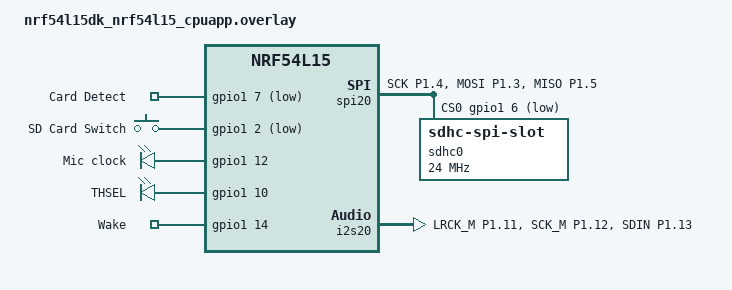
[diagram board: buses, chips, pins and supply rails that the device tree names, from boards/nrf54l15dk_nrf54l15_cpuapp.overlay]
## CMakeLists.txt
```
# SPDX-License-Identifier: Apache-2.0

cmake_minimum_required(VERSION 3.20.0)
find_package(Zephyr REQUIRED HINTS $ENV{ZEPHYR_BASE})
project(sd_card_access_nrf54)

# defining some environmental variables
if(CMAKE_HOST_SYSTEM MATCHES "Linux")
    message("===========  Linux  ==========")
elseif(CMAKE_HOST_SYSTEM MATCHES "Darwin")
    message("===========  APPLE  ==========")
elseif(CMAKE_HOST_SYSTEM MATCHES "Windows")
    message("=========== Windows ==========")
endif()

# Source code
target_sources(app PRIVATE src/main.c)
target_sources(app PRIVATE src/hal/gpio_hal.c)
target_sources(app PRIVATE src/hal/btn_hal.c)
target_sources(app PRIVATE src/mic/t5848.c)

target_sources_ifdef(CONFIG_FILE_SYSTEM app PRIVATE src/fatfs/sdcard.c)
```

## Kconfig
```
#
# Copyright (c) 2023 Nordic Semiconductor ASA
# Copyright (c) 2023 Antmicro <www.antmicro.com>
#
# SPDX-License-Identifier: Apache-2.0
#

mainmenu "MobileSense SD Card Access"

# General configuration
config DELAY_ON_HARDWARE_POWERED_ON
    int "Delay to be sure that all threads have detected the power on hardware, in [ms]"
    default 2000

config HOT_RESET_VAL
    int "Hot Reset delault value 0xa5"
    default 165

# SD Card storage related
# config STORAGE_SAMPLE_BIT_WIDTH
#     int "Sample BIT width for storage"
# 	default 24

# config STORAGE_BYTES_PER_SAMPLE
#     int "Bytes used per Sample for storage"
# 	default 3

config STORAGE_CD_DEBOUNCE_MS
    int "Deboucer delay in [ms]"
    default 30

# config STORAGE_TIME_DIFF_THRESHOLD
#     int "Difference in second to open a new file"
#     default 3600

config STORAGE_MOUNT_POINT
    string "Name of the Fatfs mount point"
    default "/SD:"

config STORAGE_DISK_POINTER_NAME
    string "Fatfs disk pointer name"
    default "SD"

config STORAGE_FILE_NAME
    string "Name of the file where the audio samples are stored"
    default "rec"

config STORAGE_FILE_EXTENSION
    string "Extension of the file name"
    default "dat"

config STORAGE_LIST_FILES_ON_CARD
    bool "Will list all files and folders on SD Card when mounted"
    default n

config STORAGE_USE_SDHC_NODE_FEATURE
    bool "Try to use fatfs functionality for SD Card detection"
    default n



# DEBUG level settings
config BTN_HAL_LOG_LEVEL
    int "Default LOG level for Button hal"
    default 1

config GPIO_HAL_LOG_LEVEL
    int "Default LOG level for GPIO hal"
    default 1

config MAIN_LOG_LEVEL
    int "Default LOG level for main entry point"
    default 1

config SD_CARD_LOG_LEVEL
    int "Default LOG level for SD Card and FATfs"
    default 1

config T5848_LOG_LEVEL
    int "Default LOG level for T5848 microphone"
    default 1

source "Kconfig.zephyr"
```

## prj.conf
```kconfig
# Stack and Heap size
CONFIG_MAIN_STACK_SIZE=4096

#sdcard - SDMMC
# CONFIG_DISK_DRIVER_SDMMC=y
CONFIG_DISK_ACCESS=y
CONFIG_FILE_SYSTEM=y
CONFIG_FAT_FILESYSTEM_ELM=y
CONFIG_SDHC=y

# Lib c
CONFIG_NEWLIB_LIBC=y
CONFIG_POSIX_API=y
CONFIG_POSIX_CLOCK=y

CONFIG_CBPRINTF_FP_SUPPORT=y

# GPIO's related
CONFIG_GPIO=y

# Power mamangement
CONFIG_PM_DEVICE=y

# I2S related
CONFIG_I2S=y

# ********************************************** #
# DEBUG settings - Change config below to y to activate DEBUG
# ********************************************** #
CONFIG_LOG=y
CONFIG_PRINTK=y
CONFIG_DEBUG=y
CONFIG_DEBUG_THREAD_INFO=n
# CONFIG_DEBUG_INFO=y
# CONFIG_DEBUG_COREDUMP=n
# CONFIG_DEBUG_COREDUMP_MEMORY_DUMP_MIN=y
# CONFIG_DEBUG_COREDUMP_MEMORY_DUMP_LINKER_RAM=n
```

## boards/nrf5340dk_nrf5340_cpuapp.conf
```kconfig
#
# Copyright (c) 2024 Nordic Semiconductor ASA
#
# SPDX-License-Identifier: Apache-2.0
#

CONFIG_DISK_DRIVER_SDMMC=y
CONFIG_SPI=y
CONFIG_USE_SEGGER_RTT=y
CONFIG_SERIAL=n
CONFIG_CONSOLE=n
CONFIG_UART_CONSOLE=n
```

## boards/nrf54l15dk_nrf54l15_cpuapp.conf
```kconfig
#
# Copyright (c) 2024 Nordic Semiconductor ASA
#
# SPDX-License-Identifier: Apache-2.0
#

CONFIG_DISK_DRIVER_SDMMC=y

# Logger
CONFIG_USE_SEGGER_RTT=y
CONFIG_SERIAL=n
CONFIG_CONSOLE=n
CONFIG_UART_CONSOLE=n

# ********************************************** #
# Zephyr/nrf log configuration                   #
# 0 -> off, 1 -> err, 2 ->wrn, 3 -> inf, 4 ->dbg #
# ********************************************** #
# DEBUG LOG LEVEL
CONFIG_BTN_HAL_LOG_LEVEL=4
CONFIG_GPIO_HAL_LOG_LEVEL=4
CONFIG_MAIN_LOG_LEVEL=4
CONFIG_SD_CARD_LOG_LEVEL=3
CONFIG_T5848_LOG_LEVEL=3

# Enable/Disable LOG trace
CONFIG_LOG=y
CONFIG_CONSOLE=y
CONFIG_PRINTK=y

CONFIG_LOG_BACKEND_SHOW_COLOR=y
CONFIG_LOG_INFO_COLOR_GREEN=y
CONFIG_LOG_MODE_DEFERRED=y
# CONFIG_LOG_MODE_OVERFLOW=y
CONFIG_LOG_BUFFER_SIZE=4096

# RTT logging
# To enable RTT Logging, set CONFIG_RTT_CONSOLE to y and to n to disable it
CONFIG_RTT_CONSOLE=y
CONFIG_USE_SEGGER_RTT=y
CONFIG_LOG_BACKEND_RTT=y
CONFIG_SEGGER_RTT_BUFFER_SIZE_DOWN=64
CONFIG_SEGGER_RTT_MAX_NUM_DOWN_BUFFERS=2
CONFIG_SEGGER_RTT_BUFFER_SIZE_UP=4096
CONFIG_SEGGER_RTT_MAX_NUM_UP_BUFFERS=2

# UART Logging definitions
# To enable UART Logging, set both CONFIG_SERIAL & CONFIG_UART_CONSOLE to y
CONFIG_UART_CONSOLE=n
CONFIG_LOG_BACKEND_UART=n
```

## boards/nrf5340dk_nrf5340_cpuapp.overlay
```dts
// To get started, press Ctrl+Space (or Option+Esc) to bring up the completion menu and view the available nodes.

// You can also use the buttons in the sidebar to perform actions on nodes.
// Actions currently available include:

// * Enabling / disabling the node
// * Adding the bus to a bus
// * Removing the node
// * Connecting ADC channels

// For more help, browse the DeviceTree documentation at https://docs.zephyrproject.org/latest/guides/dts/index.html
// You can also visit the nRF DeviceTree extension documentation at https://nrfconnect.github.io/vscode-nrf-connect/devicetree/nrfdevicetree.html

// ---------- Define GPIOs & Hardware used ----------
&pinctrl {
	// ----- pinctrl for PCA10095 board (nRF5340 DK) -----
    spi4_default: spi4_default {
        group1 {
            psels = <NRF_PSEL(SPIM_SCK,  1, 14)>,
                    <NRF_PSEL(SPIM_MISO, 1, 15)>,
                    <NRF_PSEL(SPIM_MOSI, 1, 13)>;
        };
    };

	spi4_sleep: spi4_sleep {
		group1 {
            psels = <NRF_PSEL(SPIM_SCK,  1, 14)>,
                    <NRF_PSEL(SPIM_MISO, 1, 15)>,
                    <NRF_PSEL(SPIM_MOSI, 1, 13)>;
			low-power-enable;
		};
	};
};

&spi4 {
    status = "okay";
    compatible = "nordic,nrf-spim";

	// ----- pinctrl for PCA10095 board (nRF5340 DK) -----
    cs-gpios = <&gpio1 12 GPIO_ACTIVE_LOW>;

	pinctrl-0 = <&spi4_default>;
    pinctrl-1 = <&spi4_sleep>;
    pinctrl-names = "default", "sleep";

    sdhc0: sdhc@0 {
        compatible = "zephyr,sdhc-spi-slot";
        reg = <0>;
        status = "okay";
        mmc {
            compatible = "zephyr,sdmmc-disk";
			disk-name = "SD";
            status = "okay";
        };
        spi-max-frequency = <24000000>;
    };
};


// &clock {
// 	hfclkaudio-frequency = <11289600>;
// };

/ {
	monkey_gpios {
		compatible = "gpio-keys";
		
		// ----- pinctrl for PCA10095 board (nRF5340 DK) -----
		cd: cd_0 {
			gpios = <&gpio1 11 GPIO_ACTIVE_LOW>;
			label = "Card Detect";
		};

	};

	aliases {
		cd0  = &cd;
	};
};
```

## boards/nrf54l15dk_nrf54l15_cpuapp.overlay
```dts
/*
 * Copyright (c) 2024 Nordic Semiconductor ASA
 *
 * SPDX-License-Identifier: Apache-2.0
 */

// Disable NFC to use NFC pins as GPIOs
&uicr {
    nfct-pins-as-gpios;
}; 

&nfct {
    status = "disabled";
};

// Disable UART to use UART pins as GPIOs
&uart20 {
	status = "disabled";
};

&gpio1 {
    status = "okay";
};

&pwm20 {
    status = "disabled";
};




// Specifying SPI for usage with SD Card
&spi20 {
    status = "okay";
    compatible = "nordic,nrf-spim";
    pinctrl-0 = <&spi20_default>;
    pinctrl-1 = <&spi20_sleep>;
    pinctrl-names = "default", "sleep";
    cs-gpios = <&gpio1 6 GPIO_ACTIVE_LOW>; // P1.06 - SD_nCS
	sdhc0: sdhc@0 {
		compatible = "zephyr,sdhc-spi-slot";
		reg = <0>;
		status = "okay";
		mmc {
			compatible = "zephyr,sdmmc-disk";
			disk-name = "SD";
			status = "okay";
		};
		spi-max-frequency = <24000000>;
	};
};

i2s_rxtx: &i2s20 {
	status = "okay";
	pinctrl-0 = <&i2s20_default>;
    pinctrl-1 = <&i2s20_sleep>;
	pinctrl-names = "default", "sleep";
};

/ {
	sdcard_gpio {
		compatible = "gpio-keys";
		
		// ----- pinctrl for PCA10156 board (nRF54L15-DK) -----
		cd: cd_0 {
			gpios = <&gpio1 7 GPIO_ACTIVE_LOW>;
			label = "Card Detect";
		};

        sm: sd_mic_enable_0 {
            gpios = <&gpio1 2 GPIO_ACTIVE_LOW>;
            label = "SD Card Switch";
        };
	};

    mic_outputs {
		compatible = "gpio-leds";
		
		// ----- pinctrl for PCA10156 board (nRF54L15-DK) -----
		clk: clk_0 {
			gpios = <&gpio1 12 GPIO_ACTIVE_HIGH>;
			label = "Mic clock";
		};

        thsel: thsel_0 {
            gpios = <&gpio1 10 GPIO_ACTIVE_HIGH>;
            label = "THSEL";
        };
	};

    mic_inputs {
        compatible = "gpio-keys";

        // ----- pinctrl for PCA10156 board (nRF54L15-DK) -----
        wake: wake_0 {
            gpios = <&gpio1 14 GPIO_ACTIVE_HIGH>;
            label = "Wake";
        };
    };


	aliases {
		cd0  = &cd;
        sm0  = &sm;
        clk0 = &clk;
        thsel0 = &thsel;
        wake0 = &wake;
	};

};

// GPIO's assignment 
&pinctrl {
    /* SD Pins */
    spi20_default: spi20_default {
        group1 {
            psels = <NRF_PSEL(SPIM_SCK,  1, 4)>,
                    <NRF_PSEL(SPIM_MOSI, 1, 3)>,
                    <NRF_PSEL(SPIM_MISO, 1, 5)>;
        };
    };

    spi20_sleep: spi20_sleep {
        group1 {
            psels = <NRF_PSEL(SPIM_SCK,  1, 4)>,
                    <NRF_PSEL(SPIM_MOSI, 1, 3)>,
                    <NRF_PSEL(SPIM_MISO, 1, 5)>;
            low-power-enable;
        };
    };
    
    i2s20_default: i2s20_default {
        group1 {
            psels = <NRF_PSEL(I2S_LRCK_M, 1, 11)>,  // MIC_WS
                    <NRF_PSEL(I2S_SCK_M, 1, 12)>,   // MIC_CLK
                    <NRF_PSEL(I2S_SDIN, 1, 13)>;    // MIC_DATA
                    
        };
    };


        i2s20_sleep: i2s20_sleep {
        group1 {
            psels = <NRF_PSEL(I2S_LRCK_M, 1, 11)>,  // MIC_WS
                    <NRF_PSEL(I2S_SCK_M, 1, 12)>,   // MIC_CLK
                    <NRF_PSEL(I2S_SDIN, 1, 13)>;    // MIC_DATA
                     low-power-enable;
        };
    };
};
```

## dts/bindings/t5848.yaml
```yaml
description: T5848 driver
compatible: "t5848"
include: spi-device.yaml
```

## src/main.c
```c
/*
 * Copyright (c) 2019 Tavish Naruka <tavishnaruka@gmail.com>
 * Copyright (c) 2023 Nordic Semiconductor ASA
 * Copyright (c) 2023 Antmicro <www.antmicro.com>
 *
 * SPDX-License-Identifier: Apache-2.0
 */

/* Sample which uses the filesystem API and SDHC driver */

#include <zephyr/kernel.h>
#include <zephyr/device.h>
#include <zephyr/drivers/gpio.h>
#include <zephyr/drivers/spi.h>
#include <zephyr/drivers/i2s.h>
#include <zephyr/fs/fs.h>
#include <zephyr/logging/log.h>
#include <zephyr/pm/device.h>
#include <zephyr/pm/device_runtime.h>
#include <zephyr/posix/time.h>
#include <zephyr/storage/disk_access.h>

#include <errno.h>
#if defined(CONFIG_FAT_FILESYSTEM_ELM)
    #include <ff.h>
#endif

#include "define.h"
#include "hal/gpio_hal.h"
#include "hal/btn_hal.h"
#if defined(CONFIG_FILE_SYSTEM)
    #include "fatfs/sdcard.h"
#endif 
#include "mic/t5848.h"

#if defined(CONFIG_FAT_FILESYSTEM_ELM)

LOG_MODULE_REGISTER(main, CONFIG_MAIN_LOG_LEVEL);

// Define stack size used by thread
#define THREAD_FATFS_STACKSIZE          4096
#define THREAD_MAIN_STACKSIZE           4096

// Set the priority of the thread
#define THREAD_FATFS_PRIORITY           7
#define THREAD_MAIN_PRIORITY            5

// Gpios & Hardware handling
#if !DT_NODE_HAS_STATUS(SPI_SD_NODE, okay)
    #warning "SPI SD Node is NOT okay"
#else
    static const struct device* spi_sd_dev = DEVICE_DT_GET(SPI_SD_NODE);
#endif

#if DT_NODE_EXISTS(DT_NODELABEL(i2s_rxtx))
#define I2S_RX_NODE  DT_NODELABEL(i2s_rxtx)
#define I2S_TX_NODE  I2S_RX_NODE
#else
#define I2S_RX_NODE  DT_NODELABEL(i2s_rx)
#define I2S_TX_NODE  DT_NODELABEL(i2s_tx)
#endif

#define I2S_MODE_LPM

/*
 *  Note the fatfs library is able to mount only strings inside _VOLUME_STRS
 *  in ffconf.h
 */
#if defined(CONFIG_DISK_DRIVER_MMC)
#define DISK_DRIVE_NAME "SD2"
#else
#define DISK_DRIVE_NAME "SD"
#endif

const struct device *const i2s_dev_rx = DEVICE_DT_GET(I2S_RX_NODE);
const struct device *const i2s_dev_tx = DEVICE_DT_GET(I2S_TX_NODE);

#define DISK_MOUNT_PT "/"DISK_DRIVE_NAME":"
#define FS_RET_OK FR_OK

FATFS main_fat_fs;
/* mounting info */
struct fs_mount_t main_mp = {
    .type = FS_FATFS,
    .fs_data = &main_fat_fs,
};

#endif

volatile uint8_t hot_reset;
volatile bool must_be_in_power_saving_mode;

bool is_sd_mic_gpio_set;
bool is_main_thread_initialized;

K_SEM_DEFINE(low_energy_mode_sem, 0, 1);

/* === Audio configuration === */
#define I2S_SAMPLE_FREQUENCY_SLEEP  2048     /* SCK = 2048 * 32 * 2 = 131 kHz : Sleep */

#if defined(I2S_MODE_LPM)
    #define I2S_SAMPLE_FREQUENCY    I2S_SAMPLE_FREQUENCY_SLEEP    /* SCK = 16000 * 32 * 2 = 768 kHz : Low Power Mode*/
    #define I2S_SAMPLE_BIT_WIDTH    24        /* 24 bits on the I2S bus */ 
#endif

#if defined(I2S_MODE_HQM)
    #define I2S_SAMPLE_FREQUENCY    39000    /* SCK = 39062 * 32 * 2 = 2.4 MHz : High Quality Mode*/
    #define I2S_SAMPLE_BIT_WIDTH    32       /* 24 bits on a 32 bits word on the I2S bus */ 
#endif

#if !defined(I2S_MODE_LPM) && !defined(I2S_MODE_HQM)
    printk("Please define either I2S_MODE_LPM or I2S_MODE_HQM");
#endif

#define I2S_BYTES_PER_SAMPLE        sizeof(int32_t)
#define I2S_SAMPLES_PER_BLOCK       ((I2S_SAMPLE_FREQUENCY / 10) * 2)
#define I2S_NUMBER_OF_CHANNELS      2       /* Always 2 in I2S mode */
#define I2S_TIMEOUT                 SYS_FOREVER_MS

#define I2S_BLOCK_SIZE  (I2S_BYTES_PER_SAMPLE * I2S_SAMPLES_PER_BLOCK)

K_MEM_SLAB_DEFINE_STATIC(i2s_mem_slab, I2S_BLOCK_SIZE, 4, 4);

/* Buffer for simple processing */
static int16_t process_buf[I2S_SAMPLES_PER_BLOCK];

static int16_t echo_block[I2S_SAMPLES_PER_BLOCK];
static volatile bool echo_enabled = false;
static K_SEM_DEFINE(toggle_transfer, 1, 1);

// Structure to pass data between threads
// typedef struct audio_msg_t{
//     void *mem_block;
//     size_t size;
// }

//K_MSGQ_DEFINE(audio_msgq, sizeof(audio_msg_t), 10, 4);

// SD Card & Mic Power GPIO handlers
#if DT_NODE_HAS_STATUS(SD_MIC_ENABLE_NODE, okay)
    struct gpio_dt_spec sd_mic_gpio = GPIO_DT_SPEC_GET(SD_MIC_ENABLE_NODE, gpios);

    static bool init_sd_mic_gpio(void)
    {
        static bool sd_mic_gpio_init = true;
        int ret;
        if (sd_mic_gpio_init)
        {
            if (!device_is_ready(sd_mic_gpio.port)) 
            {
                LOG_ERR("%s is not ready", sd_mic_gpio.port->name);
                return false;
            }

            ret = gpio_pin_configure_dt(&sd_mic_gpio, GPIO_OUTPUT_INACTIVE /* GPIO_OUTPUT_ACTIVE */);
            if (ret < 0) 
            {
                LOG_ERR("Failed to configure %s pin %d: %d", sd_mic_gpio.port->name, sd_mic_gpio.pin, ret);
                return false;
            }
            LOG_INF("GPIO %d configuration completed", sd_mic_gpio.pin);
            is_sd_mic_gpio_set = false; //true;
            sd_mic_gpio_init = false;
            disable_hardware_drivers();

            // #if !DT_NODE_HAS_STATUS(I2S_NODE, okay)
            // {
            //     disconnect_i2s_gpio();
            // }
            // #endif

            #if !DT_NODE_HAS_STATUS(SPI_SD_NODE, okay)
            {
                disconnect_spi_gpio();
            }
            #endif

        }
        return true;
    }
#else
    struct gpio_dt_spec sd_mic_gpio = NULL;
    static bool init_sd_mic_gpio(void) { return true; }
#endif // #if DT_NODE_HAS_STATUS(SD_MIC_ENABLE_NODE, okay)

void set_power_on_sd_and_mic(bool active)
{
	#if DT_NODE_HAS_STATUS(SD_MIC_ENABLE_NODE, okay)
	{
		int ret;
		if (active) {
			ret = gpio_pin_set_dt(&sd_mic_gpio, 1);
			if (ret == 0) {
				LOG_DBG("Power on mic and SD card is set !");
				is_sd_mic_gpio_set = true;
			} else {
				LOG_ERR("gpio_pin_set_dt(&sd_mic_gpio, 1) FAILED ! Error: %d", ret);
			}
		} else {
			ret = gpio_pin_set_dt(&sd_mic_gpio, 0);
			if (ret == 0) {
				LOG_DBG("Power on mic and SD card is OFF !");
				is_sd_mic_gpio_set = false;
			} else {
				LOG_ERR("gpio_pin_set_dt(&sd_mic_gpio, 1) FAILED ! Error: %d", ret);
			}
		}
	}
	#endif // #if DT_NODE_HAS_STATUS(SD_MIC_ENABLE_NODE, okay)	
}

static bool handle_spi_sd_action(bool active)
{
	#if DT_NODE_HAS_STATUS(SPI_SD_NODE, okay)
	{
		uint8_t spi_sd_state; 
		int ret = pm_device_state_get(spi_sd_dev, &spi_sd_state);
		if (ret == 0) {
			LOG_INF("SD SPI state: %s", pm_device_state_str(spi_sd_state));
			if (active) {
				if (spi_sd_state == PM_DEVICE_STATE_SUSPENDING || spi_sd_state == PM_DEVICE_STATE_SUSPENDED) {
					LOG_DBG("Resume the SD SPI ...");
					ret = pm_device_action_run(spi_sd_dev, PM_DEVICE_ACTION_RESUME);
					if (ret != 0) {
						LOG_ERR("pm_device_action_run(spi_sd_dev, PM_DEVICE_ACTION_RESUME) FAILED ! Error: %d", ret);
					}
				} else if (spi_sd_state == PM_DEVICE_STATE_ACTIVE) {
					return true;
				}
			} else {
				if (spi_sd_state == PM_DEVICE_STATE_ACTIVE) {
					LOG_DBG("Suspend the SD SPI ...");
					ret = pm_device_action_run(spi_sd_dev, PM_DEVICE_ACTION_SUSPEND);
					if (ret != 0) {
						LOG_ERR("pm_device_action_run(spi_sd_dev, PM_DEVICE_ACTION_SUSPEND) FAILED ! Error: %d", ret);
					}
				} else if (spi_sd_state == PM_DEVICE_STATE_SUSPENDED) {
					gpio_hal_disconnect_spi_gpio();
					return true;
				}
			}
		} else {
			if (ret == -ENOSYS) {
				LOG_ERR("Function not implemented for SD SPI !");
				return true;
			} else
				LOG_ERR("pm_device_state_get(spi_sd_dev, &spi_sd_state) FAILED ! Error: %d", ret);
		}
		return false;
	}
	#else
		return true;
	#endif // #if DT_NODE_HAS_STATUS(SPI_SD_NODE, okay)
}

void enable_hardware_drivers(void) 
{
	set_power_on_sd_and_mic(true);
	k_msleep(250);

	LOG_DBG("Enabling SD SPI ...");
	while (!handle_spi_sd_action(true)) {
		k_msleep(500);
	}
	LOG_DBG("SPI SD is enabled !");

	// /* PM is not supported by I2S driver */
	// LOG_DBG("Enabling I2S ...");
	// while (!handle_i2s_action(true)) {
	// 	k_msleep(500);
	// }
	// LOG_DBG("I2S is enabled !");

	// Must wait some time to be sure that all threads have detected the power on hardware
	k_msleep(CONFIG_DELAY_ON_HARDWARE_POWERED_ON);
}

void disable_hardware_drivers(void)
{
	LOG_DBG("Disabling SD SPI ...");
	while (!handle_spi_sd_action(false)) {
		k_msleep(500);
	}
	LOG_DBG("SD SPI is disabled !");

	// /* PM is not supported by I2S driver */
	// LOG_DBG("Disabling I2S ...");
	// while (!handle_i2s_action(false)) {
	// 	k_msleep(500);
	// }
	// LOG_DBG("I2S is disabled !");

	set_power_on_sd_and_mic(false);
}

void system_reset(void)
{
	LOG_WRN("NVIC_SystemReset() will be called soon !");

	// // Stop any BLE activity on Network core
	// LOG_DBG("Stopping any BLE activity ...");
	// ble_thread_running = false;

	// // Checking BLE activity ...
	// k_sem_take(&thread_ble_busy_sem, K_FOREVER);
	// LOG_INF("No more BLE activity running");

	// Waiting for end of fat fs thread
	k_sem_take(&thread_fatfs_busy_sem, K_FOREVER);

	// Update Hot Reset Flag
	hot_reset = CONFIG_HOT_RESET_VAL;
	// k_msleep(2000);

	// Applying the Software Reset
	NVIC_SystemReset();
}

static void process_block_data(void *mem_block, uint32_t number_of_samples)
{
	static bool clear_echo_block;

	if (echo_enabled) {
		for (int i = 0; i < number_of_samples; ++i) {
			int16_t *sample = &((int16_t *)mem_block)[i];
			*sample += echo_block[i];
			echo_block[i] = (*sample) / 2;
		}

		clear_echo_block = true;
	} else if (clear_echo_block) {
		clear_echo_block = false;
		memset(echo_block, 0, sizeof(echo_block));
	}
}


static bool configure_streams(const struct device *i2s_dev_rx,
			      const struct device *i2s_dev_tx,
			      const struct i2s_config *config)
{
	int ret;

	if (i2s_dev_rx == i2s_dev_tx) {
		ret = i2s_configure(i2s_dev_rx, I2S_DIR_BOTH, config);
		if (ret == 0) {
			return true;
		}
		/* -ENOSYS means that the RX and TX streams need to be
		 * configured separately.
		 */
		if (ret != -ENOSYS) {
			printk("Failed to configure streams: %d\n", ret);
			return false;
		}
	}

	ret = i2s_configure(i2s_dev_rx, I2S_DIR_RX, config);
	if (ret < 0) {
		printk("Failed to configure RX stream: %d\n", ret);
		return false;
	}

	ret = i2s_configure(i2s_dev_tx, I2S_DIR_TX, config);
	if (ret < 0) {
		printk("Failed to configure TX stream: %d\n", ret);
		return false;
	}

	return true;
}


static bool trigger_command(const struct device *i2s_dev_rx,
			    const struct device *i2s_dev_tx,
			    enum i2s_trigger_cmd cmd)
{
	int ret;

	if (i2s_dev_rx == i2s_dev_tx) {
		ret = i2s_trigger(i2s_dev_rx, I2S_DIR_BOTH, cmd);
		if (ret == 0) {
			return true;
		}
		/* -ENOSYS means that commands for the RX and TX streams need
		 * to be triggered separately.
		 */
		if (ret != -ENOSYS) {
			printk("Failed to trigger command %d: %d\n", cmd, ret);
			return false;
		}
	}

	ret = i2s_trigger(i2s_dev_rx, I2S_DIR_RX, cmd);
	if (ret < 0) {
		printk("Failed to trigger command %d on RX: %d\n", cmd, ret);
		return false;
	}

	ret = i2s_trigger(i2s_dev_tx, I2S_DIR_TX, cmd);
	if (ret < 0) {
		printk("Failed to trigger command %d on TX: %d\n", cmd, ret);
		return false;
	}

	return true;
}


static bool prepare_transfer(const struct device *i2s_dev_rx,
			     const struct device *i2s_dev_tx)
{
	int ret;

	for (int i = 0; i < 2; ++i) {
		void *mem_block;

		ret = k_mem_slab_alloc(&i2s_mem_slab, &mem_block, K_NO_WAIT);
		if (ret < 0) {
			printk("Failed to allocate TX block %d: %d\n", i, ret);
			return false;
		}

		memset(mem_block, 0, I2S_BLOCK_SIZE);

		ret = i2s_write(i2s_dev_tx, mem_block, I2S_BLOCK_SIZE);
		if (ret < 0) {
			printk("Failed to write block %d: %d\n", i, ret);
			return false;
		}
	}

	return true;
}

void init_i2s(void) {
	struct i2s_config config;
	int ret;

	/* Check I2S device */
	if (!device_is_ready(i2s_dev_rx)) {
		LOG_ERR("I2S device %s not ready\n", i2s_dev_rx->name);
		return 0;
	}

	if (!device_is_ready(i2s_dev_tx)) {
		LOG_ERR("I2S TX device %s not ready\n", i2s_dev_tx->name);
		return 0;
	}

	/* Configure I2S RX only */
	config.word_size      = I2S_SAMPLE_BIT_WIDTH;
	config.channels       = I2S_NUMBER_OF_CHANNELS;  // Ignored in I2S mode, always 2
	config.format         = I2S_FMT_DATA_FORMAT_I2S;
	config.options        = I2S_OPT_BIT_CLK_MASTER | I2S_OPT_FRAME_CLK_MASTER;
	config.frame_clk_freq = I2S_SAMPLE_FREQUENCY;
	config.mem_slab       = &i2s_mem_slab;
	config.block_size     = I2S_BLOCK_SIZE;
	config.timeout        = I2S_TIMEOUT;

	// ret = i2s_configure(i2s_dev_rx, I2S_DIR_RX, &config);
	// if (ret < 0) {
	// 	printk("Failed to configure I2S RX: %d\n", ret);
	// 	return 0;
	// }

	if (!configure_streams(i2s_dev_rx, i2s_dev_tx, &config)) {
		return 0;
	}

	ret = i2s_trigger(i2s_dev_rx, I2S_DIR_RX, I2S_TRIGGER_START);
	if (ret < 0) {
		LOG_ERR("Failed to start I2S RX: %d\n", ret);
		return 0;
	}

	LOG_INF("I2S initialized !\n");
}
static void main_thread(void) 
{
		// Taking semaphores of all other threads
	// k_sem_take(&thread_fatfs_busy_sem, K_NO_WAIT)

	// // Initialize global variables that MUST be initialized with a HOT reset
	is_sd_mic_gpio_set 			    = false;
	is_main_thread_initialized 	    = false;

	gpio_hal_disconnect_all_unused();

	if (hot_reset == CONFIG_HOT_RESET_VAL) {
		#if defined(CONFIG_BOARD_NRF5340DK)
		{
			// errata - Tested this workaround. Be aware of the register address:
			// - 0x50005000 for secure firmware
			// - 0x40005000 for non-secure firmware
			*(volatile uint32_t *) 0x40005618ul = 1ul;
			NRF_RESET->NETWORK.FORCEOFF = (RESET_NETWORK_FORCEOFF_FORCEOFF_Release << RESET_NETWORK_FORCEOFF_FORCEOFF_Pos);
			k_msleep(5); // Wait for at least five microseconds
			NRF_RESET->NETWORK.FORCEOFF = (RESET_NETWORK_FORCEOFF_FORCEOFF_Hold << RESET_NETWORK_FORCEOFF_FORCEOFF_Pos);
			k_msleep(1); // Wait for at least one microsecond
			NRF_RESET->NETWORK.FORCEOFF = (RESET_NETWORK_FORCEOFF_FORCEOFF_Release << RESET_NETWORK_FORCEOFF_FORCEOFF_Pos);
			*(volatile uint32_t *) 0x40005618ul = 0ul;
		}
		#endif
	} else {
		// Initialize NON Init variables
		must_be_in_power_saving_mode    = false;

		// ASCII Art Generator: http://patorjk.com/software/taag
		// Font: Big
		LOG_INF("___________________________________________________________");
		LOG_INF("  __  __       _     _ _       _____  ");              
		LOG_INF(" |  \\/  |     | |   (_) |     / ____| ");           
		LOG_INF(" | \\  / | ___ | |__  _| | ___| (___   ___ _ __  ___ ");
		LOG_INF(" | |\\/| |/ _ \\| '_ \\| | |/ _ \\\\___ \\ / _ \\ '_ \\/ __|");
		LOG_INF(" | |  | | (_) | |_) | | |  __/____) |  __/ | | \\__ \\");
		LOG_INF(" |_|  |_|\\___/|_.__/|_|_|\\___|_____/ \\___|_| |_|___/");
		LOG_INF("___________________________________________________________");
		LOG_INF("");
		#ifdef CONFIG_COMPILE_FOR_MOBILESENS_PCB
			LOG_INF("Hardware: MobileSens PCB");
		#else
			LOG_INF("Hardware: PCA10156");
		#endif
		LOG_INF("___________________________________________________________");
		LOG_DBG("Starting MobileSens App ... (%s)", CONFIG_BOARD);
	}

	// #if DT_NODE_HAS_STATUS_OKAY(BTN0_NODE) || DT_NODE_HAS_STATUS_OKAY(BTN1_NODE) || DT_NODE_HAS_STATUS_OKAY(BTN2_NODE) || DT_NODE_HAS_STATUS_OKAY(BTN3_NODE)
	// {
	// 	if (!btn_hal_buttons_init()) {
	// 		LOG_WRN("Could NOT initialize some Button's handler...");
	// 	}
	// }
	// #endif // #if DT_NODE_HAS_STATUS_OKAY(BTN0_NODE) || DT_NODE_HAS_STATUS_OKAY(BTN1_NODE) || DT_NODE_HAS_STATUS_OKAY(BTN2_NODE) || DT_NODE_HAS_STATUS_OKAY(BTN3_NODE)

	// #if DT_NODE_HAS_STATUS(SD_MIC_ENABLE_NODE, okay)
	// {
	// 	if (!init_sd_mic_gpio()) {
	// 		LOG_ERR("init_sd_mic_gpio() FAILED !");
	// 		return;
	// 	}

	// 	// For now on, we just enable the hardware !
	// 	enable_hardware_drivers();
	// }
	// #endif // #if DT_NODE_HAS_STATUS(SD_MIC_ENABLE_NODE, okay)

	// trigger_command(i2s_dev_rx, i2s_dev_tx, I2S_TRIGGER_START);

	// // Giving semaphores of all other threads
	// k_sem_give(&thread_fatfs_busy_sem);

	// while (!must_be_in_power_saving_mode) {
	// 	LOG_DBG("low_energy_mode_sem.count: %d", low_energy_mode_sem.count);
	// 	LOG_DBG("low_energy_mode_sem.limit: %d", low_energy_mode_sem.limit);

	// 	int ret = k_sem_take(&low_energy_mode_sem, K_FOREVER);
	// 	switch (ret)
	// 	{
	// 		case -EBUSY:
	// 			LOG_WRN("k_sem_take(&low_energy_mode_sem, K_FOREVER) returns EBUSY");
	// 			break;

	// 		case -EAGAIN:
	// 			LOG_WRN("k_sem_take(&low_energy_mode_sem, K_FOREVER) returns EAGAIN");
	// 			break;

	// 		default:
	// 			LOG_DBG("k_sem_take(&low_energy_mode_sem, K_FOREVER) returns %d", ret);
	// 			break;
	// 	}
	// 	LOG_DBG("low_energy_mode_sem.count: %d", low_energy_mode_sem.count);
	// 	LOG_WRN("Handling Power Saving Mode ! ...");
	// 	must_be_in_power_saving_mode = true;

	// 	void *mem_block;
	// 	size_t size;

	// 	ret = i2s_read(i2s_dev_rx, &mem_block, &size);
	// 	if (ret < 0) {
	// 		LOG_ERR("I2S read failed: %d", ret);
	// 		break;
	// 	}

	// 	audio_msg_t msg;
	// 	msg.mem_block = mem_block;
	// 	msg.size = size;

	// 	ret = k_msgq_put(&audio_msgq, &msg, K_NO_WAIT);
		
	// 	if (ret != 0) {
	// 		LOG_WRN("Drop packet! SD thread too slow.");
	// 		k_mem_slab_free(&i2s_mem_slab, &mem_block);
	// 	}


	// 	// Workaround to disable completely FAT_fs
	// 	if (is_sd_mic_gpio_set) {
	// 		// Stop recording
	// 		// LOG_DBG("Stop recording ...");
	// 		// recorder_disable_record();

	// 		system_reset();
	// 		trigger_command(i2s_dev_rx, i2s_dev_tx, I2S_TRIGGER_DROP);

	// 		// k_msleep(3000);
	// 		// hot_reset = CONFIG_HOT_RESET_VAL;
	// 		// NVIC_SystemReset();
	// 	}
	// }

	// // Around GPIOs
	// // Will be done only if Low Batt detected -> moved in low_batt_debounced() method
	// // gpio_hal_disconnect_low_batt_gpio();

	// // No more needed, it's done in `disable_hardware_drivers()` method !
	// // gpio_hal_disconnect_i2s_gpio();
	// // gpio_hal_disconnect_spi_gpio();
	// LOG_WRN("------------ Main Thread ended ... ------------\n");

	LOG_INF("Tests started !");

	mic_initialize();
	
	const struct t5848_aad_d_conf conf_d = {
		T5848_AAD_SELECT_D1,
		T5848_AAD_D_ALGO_SEL_REL,
		T5848_AAD_D_FLOOR_40dB,
		T5848_AAD_D_REL_PULSE_MIN_10ms,
		T5848_AAD_D_ABS_PULSE_MIN_48ms,
		T5848_AAD_D_ABS_THR_65dB,
		T5848_AAD_D_REL_THR_6dB
	};

	static struct t5848_address_data_pair reg_data_pairs[T5848_CONFIG_PAIRS_D];
	int count = mic_generate_aad_d_pair(&conf_d, reg_data_pairs);

	int ret = mic_write_config(reg_data_pairs, count);

	init_i2s();

	void *mem_block;
	size_t size;

	while(1) {
        int ret = i2s_read(i2s_dev_rx, &mem_block, &size);
        
        if (ret < 0) {
            LOG_ERR("I2S read failed: %d (Stopping)", ret);
            break;
        }

        k_mem_slab_free(&i2s_mem_slab, &mem_block);
	}
	LOG_INF("Tests ended !");
}

// Define and initialize the threads
K_THREAD_DEFINE(thread_main_id,  THREAD_MAIN_STACKSIZE,  main_thread, NULL, NULL, NULL, THREAD_MAIN_PRIORITY, 0, 0);
K_THREAD_DEFINE(thread_fatfs_id, THREAD_FATFS_STACKSIZE, sdcard_thread_fatfs_mount, &main_mp, NULL, NULL, THREAD_FATFS_PRIORITY, 0, 0);
```

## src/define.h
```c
/*
 * Copyright (c) 2025 HESSO-VS, HEI Sion
 */

#ifndef _MAIN_DEFINE_H_
#define _MAIN_DEFINE_H_

#include <zephyr/kernel.h>
#include <zephyr/drivers/gpio.h>
#include <zephyr/fs/fs.h>
#include <zephyr/posix/time.h>
#include <ff.h>

#include <stdio.h>

// pinctrl
/* identifier for microphone state */
//#define PINCTRL_STATE_MIC PINCTRL_STATE_PRIV_START

// Gpios & Hardware handling
#define SD_MIC_ENABLE_NODE              DT_ALIAS(sm0)

#define GPIO0_NODE                      DT_NODELABEL(gpio0)
#define GPIO1_NODE                      DT_NODELABEL(gpio1)
#define GPIO2_NODE                      DT_NODELABEL(gpio2)
#define SPI_SD_NODE                     DT_NODELABEL(spi20)
#define MIC_CLK_NODE                    DT_ALIAS(clk0)
#define MIC_THSEL_NODE                  DT_ALIAS(thsel0)
#define MIC_WAKE_NODE                   DT_ALIAS(wake0)

#define BTN0_NODE                       DT_NODELABEL(button0)
#define BTN1_NODE                       DT_NODELABEL(button1)
#define BTN2_NODE                       DT_NODELABEL(button2)
#define BTN3_NODE                       DT_NODELABEL(button3)

extern FATFS main_fat_fs;
extern struct fs_mount_t main_mp;
extern struct fs_file_t file;

extern bool is_sd_mic_gpio_set;

extern struct gpio_dt_spec sd_mic_gpio;

extern struct k_sem low_energy_mode_sem;
extern struct k_sem sdcard_activity_sem;

extern volatile uint8_t hot_reset                   __attribute__((section(".noinit")));
extern volatile bool must_be_in_power_saving_mode   __attribute__((section(".noinit")));

void set_power_on_sd_and_mic(bool active);

void enable_hardware_drivers(void);
void disable_hardware_drivers(void);

void system_reset(void);

#endif // _MAIN_DEFINE_H_
```
